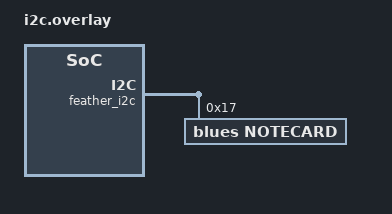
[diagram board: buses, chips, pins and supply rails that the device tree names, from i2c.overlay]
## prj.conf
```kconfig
# Provides access to onboard LED
CONFIG_GPIO=y

# Logging
CONFIG_LOG=y

# Notecard libraries
CONFIG_NEWLIB_LIBC=y # Required by `note-c`
CONFIG_BLUES_NOTECARD=y
# Optional: Enable Notecard logging
CONFIG_BLUES_NOTECARD_LOGGING=y
```

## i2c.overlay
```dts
&feather_i2c {
	status = "okay";

	notecard@17 {
		compatible = "blues,notecard";
		reg = <0x17>;
		status = "okay";
	};
};
```

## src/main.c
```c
/*
 * Copyright (c) 2025 Blues Inc.
 *
 * MIT License. Use of this source code is governed by licenses granted
 * by the copyright holder including that found in the LICENSE file.
 *
 * Author: Zachary J. Fields
 */

#include <zephyr/drivers/gpio.h>
#include <zephyr/kernel.h>
#include <zephyr/logging/log.h>

// Include Notecard note-c library
#include <note.h>

#define SLEEP_TIME_MS 10000

#define LED0_NODE DT_ALIAS(led0)

#if DT_NODE_HAS_STATUS(LED0_NODE, okay)
static const struct gpio_dt_spec led = GPIO_DT_SPEC_GET(LED0_NODE, gpios);
#else
#error "Unsupported board: led0 devicetree alias is not defined"
#endif

LOG_MODULE_REGISTER(main);

int main(void)
{
    int ret;

    LOG_INF("Initializing...");

    if (!gpio_is_ready_dt(&led)) {
        LOG_ERR("Failed to activate LED.");
        return -1;
    }

    ret = gpio_pin_configure_dt(&led, GPIO_OUTPUT_ACTIVE);
    if (ret < 0)
    {
        LOG_ERR("Failed to configure LED.");
        return ret;
    }

    // Send a Notecard hub.set using note-c
    J *req = NoteNewRequest("hub.set");
    if (req) {
        JAddStringToObject(req, "product", CONFIG_BLUES_NOTEHUB_PRODUCT_UID);
        JAddStringToObject(req, "mode", "continuous");
        JAddStringToObject(req, "sn", "zephyr-blink");
        if (!NoteRequest(req))
        {
            LOG_ERR("Failed to configure Notecard.");
            return -1;
        }
    }
    else {
        LOG_ERR("Failed to allocate memory.");
        return -1;
    }

    LOG_INF("Entering main loop...");
    while (1)
    {
        // Toggle LED state
        ret = gpio_pin_toggle_dt(&led);
        if (ret < 0)
        {
            LOG_ERR("Failed to toggle LED.");
            break;
        }

        // Report LED state to Notehub.io
        J *req = NoteNewRequest("note.add");
        if (req)
        {
            JAddBoolToObject(req, "sync", true);
            J *body = JAddObjectToObject(req, "body");
            JAddBoolToObject(body, "LED", gpio_pin_get(led.port, led.pin));
            if (!NoteRequest(req))
            {
                LOG_ERR("Failed to submit Note to Notecard.");
                ret = -1;
                break;
            }
            LOG_INF("Note sent to Notehub.");
        }
        else
        {
            LOG_ERR("Failed to allocate memory.");
            ret = -1;
            break;
        }

        k_msleep(SLEEP_TIME_MS);
    }

    return ret;
}
```
